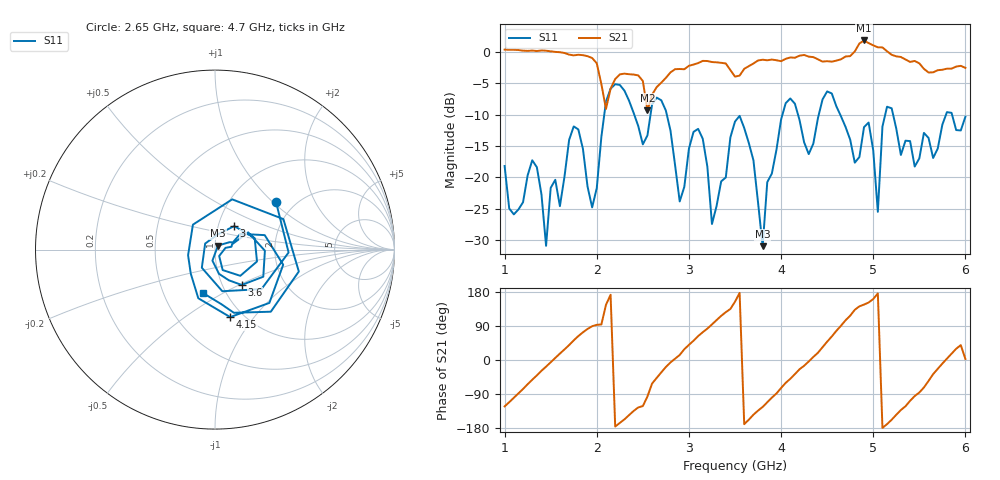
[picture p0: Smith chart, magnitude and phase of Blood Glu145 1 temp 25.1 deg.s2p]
! NanoVNA-App
! Date: 2024-03-21 15:18:29
! Start: 1GHz Stop: 6GHz Points: 101
! S-Parameter data: F S11 S21 S12 S22
# Hz S RI R 50
!	Frequency	S11_Real	S11_Imag	S21_Real	S21_Imag	S12_Real	S12_Imag	S22_Real	S22_Imag
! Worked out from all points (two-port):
!   101 points, 1 GHz to 6 GHz, reference 50 ohm
!   highest |S21| = 1.78 dB at 4.9 GHz (marker M1); lowest = -9.3 dB at 2.55 GHz (marker M2)
!   |S21| within 3 dB of the highest: start of sweep to 1.962 GHz; 4.65 GHz to 5.346 GHz (696.5 MHz wide, 13.9 % of centre)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
!   lowest |S11| = -30.9 dB at 3.8 GHz (marker M3), VSWR 1.06, Z = 51.7 + j2.36 ohm
!   |S11| at or under -10 dB: start of sweep to 2.082 GHz; 2.76 GHz to 4.015 GHz (1.256 GHz wide, 37.1 % of centre); 5.215 GHz to 5.79 GHz (575.1 MHz wide, 10.5 % of centre)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
!   S12 and S22 are empty: the file has one direction only
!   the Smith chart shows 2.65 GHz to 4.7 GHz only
!   S11 on the Smith chart (normalised r, x): 2.65 GHz: 1.61, +1.05; 3 GHz: 1.19, +0.32; 3.6 GHz: 1.23, -0.52; 4.15 GHz: 0.87, -0.77; 4.7 GHz: 0.79, -0.41
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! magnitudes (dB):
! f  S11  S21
! 1 GHz  -18.2  0.3
! 1.35 GHz  -18.4  0.1
! 1.45 GHz  -30.9  0.2
! 1.85 GHz  -15.5  -0.6
! 1.95 GHz  -24.8  -1.0
! 2.15 GHz  -5.9  -5.9
! 2.55 GHz  -13.3  -9.3
! 2.65 GHz  -7.3  -5.6
! 2.7 GHz  -7.7  -4.9
! 2.9 GHz  -23.8  -2.8
! 3 GHz  -15.4  -2.3
! 3.25 GHz  -27.4  -1.7
! 3.5 GHz  -11.1  -4.0
! 3.6 GHz  -12.1  -2.7
! 3.8 GHz  -30.9  -1.3
! 4.15 GHz  -8.3  -1.0
! 4.35 GHz  -14.6  -0.9
! 4.7 GHz  -12.0  -0.8
! 4.9 GHz  -12.0  1.8
! 5.05 GHz  -25.5  0.7
! 5.2 GHz  -9.0  -0.5
! 6 GHz  -10.4  -2.6
